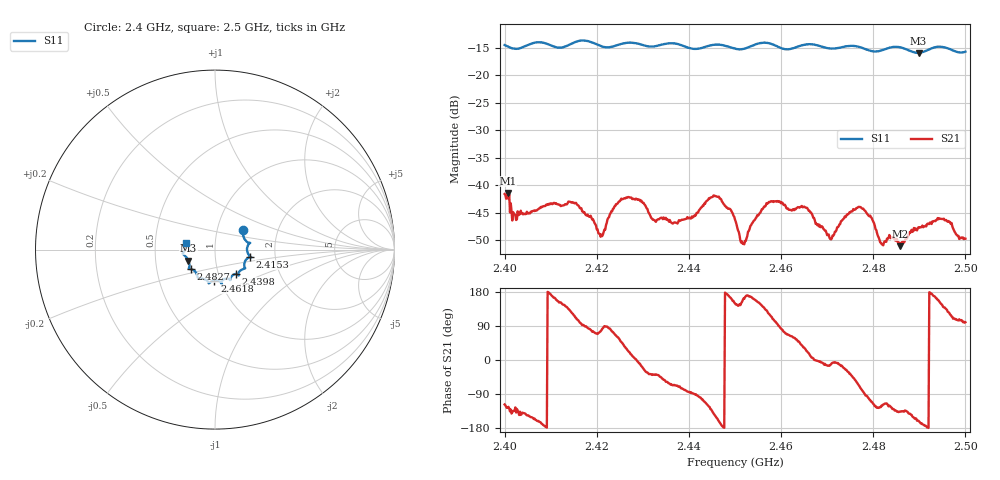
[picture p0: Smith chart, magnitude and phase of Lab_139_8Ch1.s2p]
# Hz S RI R 50
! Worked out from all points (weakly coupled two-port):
!   601 points, 2.4 GHz to 2.5 GHz, reference 50 ohm
!   highest |S21| = -41.40 dB at 2.4007 GHz (marker M1); lowest = -51.1 dB at 2.4858 GHz (marker M2)
!   lowest |S11| = -15.9 dB at 2.4898 GHz (marker M3), VSWR 1.38, Z = 36.9 - j4.63 ohm
!   |S11| at or under -10 dB: start of sweep to end of sweep
!   S12 and S22 are empty: the file has one direction only
!   S11 on the Smith chart (normalised r, x): 2.4 GHz: 1.33, +0.29; 2.4153 GHz: 1.48, -0.12; 2.4398 GHz: 1.21, -0.34; 2.4618 GHz: 0.94, -0.33; 2.4827 GHz: 0.75, -0.17; 2.5 GHz: 0.72, +0.06
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2.4e9  0.1555 0.1065  -0.00383 -0.00739  0 0  0 0
2.400667e9  0.1555 0.0961  -0.00494 -0.00693  0 0  0 0
2.402167e9  0.1587 0.0715  -0.0038 -0.0039  0 0  0 0
2.415333e9  0.1967 -0.0391  -0.00264 0.00636  0 0  0 0
2.416667e9  0.2024 -0.043  -0.000553 0.00615  0 0  0 0
2.420833e9  0.1771 -0.0518  0.000838 0.0033  0 0  0 0
2.4265e9  0.168 -0.1031  0.00668 0.00376  0 0  0 0
2.433333e9  0.1297 -0.134  0.00377 -0.00314  0 0  0 0
2.439833e9  0.1153 -0.1357  0.000547 -0.00498  0 0  0 0
2.445833e9  0.0842 -0.1704  -0.00686 -0.00407  0 0  0 0
2.45e9  0.0654 -0.1618  -0.0042 0.00247  0 0  0 0
2.451833e9  0.0462 -0.1673  -0.00281 0.000911  0 0  0 0
2.457333e9  0.039 -0.192  -0.00376 0.00596  0 0  0 0
2.461833e9  -0.00338 -0.1728  0.00254 0.00541  0 0  0 0
2.466667e9  -0.0348 -0.1882  0.00547 0.000573  0 0  0 0
2.471e9  -0.0587 -0.1647  0.00324 -0.000492  0 0  0 0
2.477333e9  -0.0973 -0.1504  0.00156 -0.00609  0 0  0 0
2.482667e9  -0.1349 -0.1087  -0.00132 -0.00282  0 0  0 0
2.483333e9  -0.1401 -0.1082  -0.00178 -0.00281  0 0  0 0
2.485833e9  -0.1459 -0.1048  -0.002 -0.00195  0 0  0 0
2.489833e9  -0.1477 -0.0612  -0.00391 -0.0014  0 0  0 0
2.5e9  -0.1594 0.0384  -0.000545 0.00322  0 0  0 0
